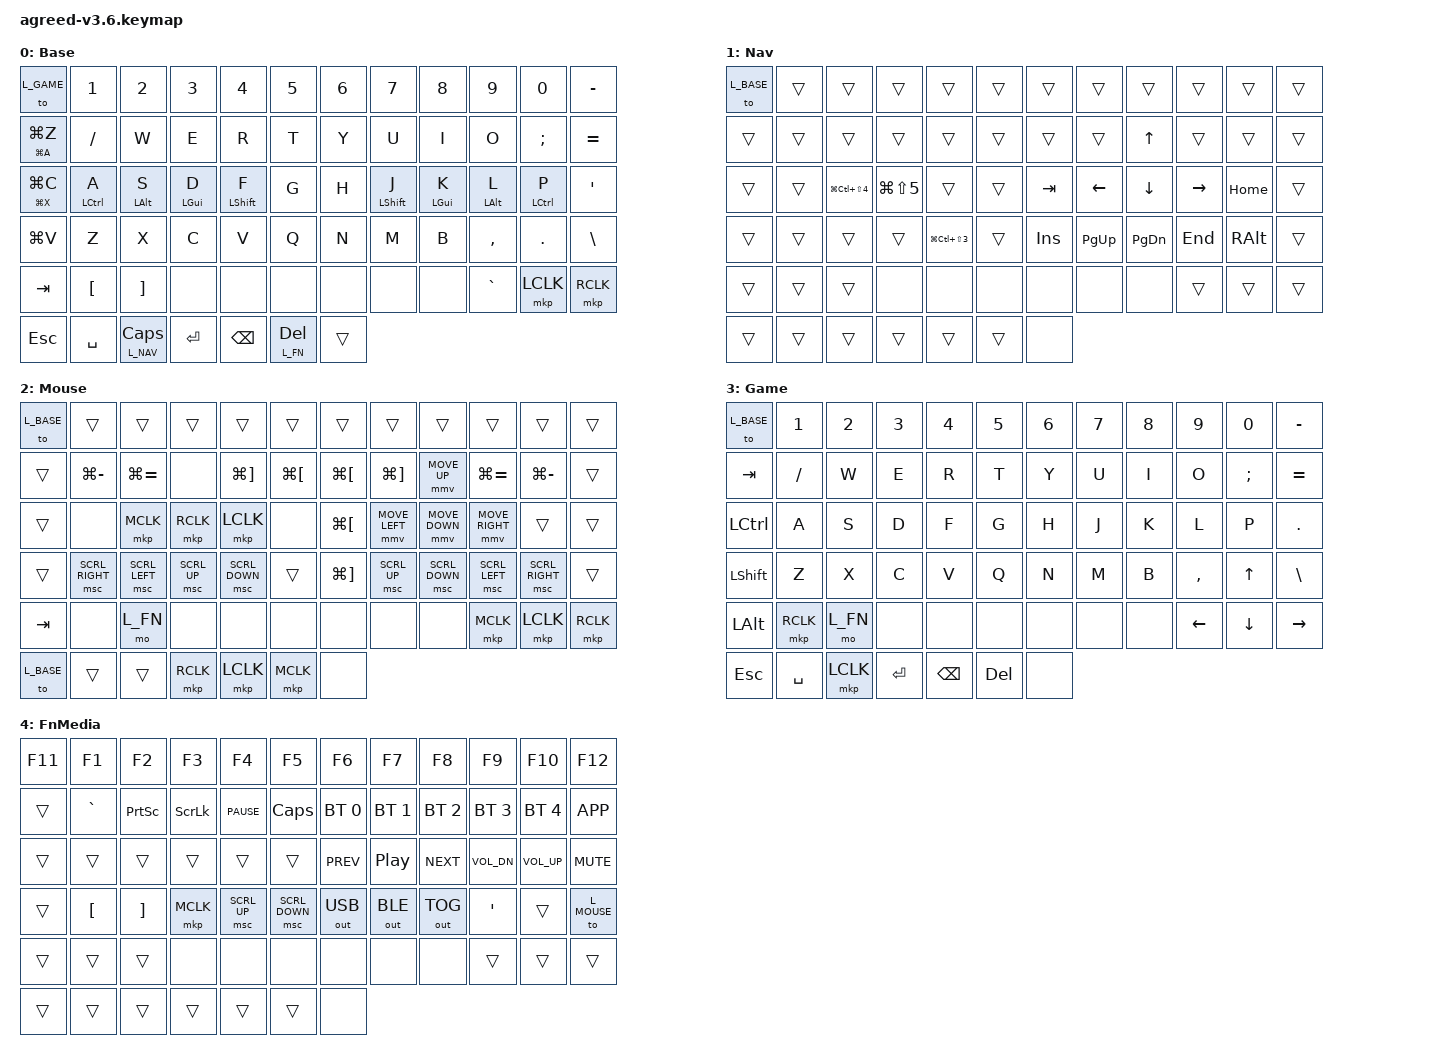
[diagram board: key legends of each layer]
/*
 * Obrey MODU-C v3.6 - DIRECT three-key bootloader combos (stock ZMK).
 * Target: Obrey/modu-c-zmk-obrey/config/modu.keymap
 * Based on the attached v3.5 keymap, NOT a live GitHub checkout.
 *
 * Base only: press 1+3+5 together OR 6+8+0 together (80 ms window).
 * No extra key, layer entry or long hold. Existing 300 ms prior-idle guard kept.
 * The Maintenance layer and its two-key entry combos have been removed.
 * All five ordinary layers and four existing unrelated combos are unchanged.
 *
 * IMPORTANT: BOTH COMBOS RESET THE CENTRAL HALF, NOT ONE HALF EACH.
 * Stock ZMK invokes source-specific reset behaviors from combos on the central.
 * The number keys' physical sides DO NOT select the bootloader target.
 * This file does NOT implement peripheral/right-half targeting.
 * Reference: https://zmk.dev/docs/keymaps/behaviors/reset#split-keyboards
 *
 * Base &none indices: 51..56 only; Base index 66 stays &trans.
 * Original left shortcut column, thumbs, brackets, backtick and Game retained.
 * No GPIO, Bluetooth-role, physical trackball or firmware-module changes.
 * Tested structurally only. Full repo validator, build and hardware untested.
 */

#define L_BASE  0
#define L_NAV   1
#define L_MOUSE 2
#define L_GAME  3
#define L_FN    4

#define ZMK_POINTING_DEFAULT_MOVE_VAL 1200
#define ZMK_POINTING_DEFAULT_SCRL_VAL 25

#include <input/processors.dtsi>
#include <zephyr/dt-bindings/input/input-event-codes.h>
#include <behaviors.dtsi>
#include <dt-bindings/zmk/bt.h>
#include <dt-bindings/zmk/keys.h>
#include <dt-bindings/zmk/outputs.h>
#include <dt-bindings/zmk/pointing.h>

/* Only keyboard-generated mouse motion/scroll. Not the physical trackball. */
&mmv_input_listener {
    input-processors = <&zip_xy_scaler 2 1>;
};
&msc_input_listener {
    input-processors = <&zip_scroll_scaler 2 1>;
};
&msc {
    acceleration-exponent = <1>;
    time-to-max-speed-ms = <100>;
    delay-ms = <0>;
};
&mmv {
    time-to-max-speed-ms = <500>;
    acceleration-exponent = <1>;
    trigger-period-ms = <16>;
};

/ {
    behaviors {
        hm200: hm200 {
            compatible = "zmk,behavior-hold-tap";
            label = "HOMEROW_MODS";
            bindings = <&kp>, <&kp>;
            #binding-cells = <2>;
            tapping-term-ms = <200>;
            quick-tap-ms = <130>;
            require-prior-idle-ms = <(-1)>;
            flavor = "tap-preferred";
        };

        hm250: hm250 {
            compatible = "zmk,behavior-hold-tap";
            label = "HM250";
            bindings = <&kp>, <&kp>;
            #binding-cells = <2>;
            tapping-term-ms = <250>;
            quick-tap-ms = <130>;
            require-prior-idle-ms = <(-1)>;
            flavor = "tap-preferred";
        };
    };

    combos {
        compatible = "zmk,combos";

        // Direct combos. Both target CENTRAL under standard ZMK reset semantics.
        combo_boot_135 {
            timeout-ms = <80>;
            require-prior-idle-ms = <300>;
            key-positions = <1 3 5>;
            bindings = <&bootloader>;
            layers = <L_BASE>;
        };
        combo_boot_680 {
            timeout-ms = <80>;
            require-prior-idle-ms = <300>;
            key-positions = <6 8 10>;
            bindings = <&bootloader>;
            layers = <L_BASE>;
        };

        /* No combo is active on Game or FnMedia. */
        mouse {
            timeout-ms = <50>;
            key-positions = <41 62>;
            bindings = <&tog L_MOUSE>;
            layers = <L_BASE L_NAV L_MOUSE>;
        };
        enter {
            timeout-ms = <50>;
            key-positions = <33 32>;
            bindings = <&kp ENTER>;
            layers = <L_BASE>;
        };
        back_space {
            timeout-ms = <50>;
            key-positions = <31 32>;
            bindings = <&kp BACKSPACE>;
            layers = <L_BASE>;
        };

        /* Intentional pairing-clear gesture: Nav held, then the 1 and 0 number keys together.
         * Not active on Game or FnMedia. Clears only the selected Bluetooth profile.
         */
        bluetooth_clear {
            timeout-ms = <50>;
            require-prior-idle-ms = <300>;
            key-positions = <1 10>;
            bindings = <&bt BT_CLR>;
            layers = <L_NAV>;
        };
    };

    keymap {
        compatible = "zmk,keymap";
        // Base letters/home-row mods kept; new keys restore missing punctuation. 0 enters Game.
        default_layer {
            display-name = "Base";
            bindings = <
                /* 00..11 */ &to L_GAME              &kp N1                  &kp N2                  &kp N3                  &kp N4                  &kp N5                  &kp N6                  &kp N7                  &kp N8                  &kp N9                  &kp N0                  &kp MINUS
                /* 12..23 */ &mt LG(A) LG(Z)         &kp SLASH               &kp W                   &kp E                   &kp R                   &kp T                   &kp Y                   &kp U                   &kp I                   &kp O                   &kp SEMICOLON           &kp EQUAL
                /* 24..35 */ &mt LG(X) LG(C)         &hm250 LCTRL A          &hm200 LALT S           &hm200 LEFT_GUI D       &hm200 LSHFT F          &kp G                   &kp H                   &hm200 LSHFT J          &hm200 LEFT_GUI K       &hm200 LALT L           &hm250 LCTRL P          &kp APOS
                /* 36..47 */ &kp LG(V)               &kp Z                   &kp X                   &kp C                   &kp V                   &kp Q                   &kp N                   &kp M                   &kp B                   &kp COMMA               &kp PERIOD              &kp BSLH
                /* 48..59 */ &kp TAB                 &kp LBKT                &kp RBKT                &none                   &none                   &none                   &none                   &none                   &none                   &kp GRAVE               &mkp LCLK               &mkp RCLK
                /* 60..66 */ &kp ESC                 &kp SPACE               &lt L_NAV CAPSLOCK      &kp ENTER               &kp BACKSPACE           &lt L_FN DEL            &trans
            >;
        };

        // Nav; node name lower_layer retained for compatibility with existing repo checks.
        lower_layer {
            display-name = "Nav";
            bindings = <
                /* 00..11 */ &to L_BASE              &trans                  &trans                  &trans                  &trans                  &trans                  &trans                  &trans                  &trans                  &trans                  &trans                  &trans
                /* 12..23 */ &trans                  &trans                  &trans                  &trans                  &trans                  &trans                  &trans                  &trans                  &kp UP                  &trans                  &trans                  &trans
                /* 24..35 */ &trans                  &trans                  &kp LG(LC(LS(N4)))      &kp LG(LS(N5))          &trans                  &trans                  &kp TAB                 &kp LEFT                &kp DOWN                &kp RIGHT               &kp HOME                &trans
                /* 36..47 */ &trans                  &trans                  &trans                  &trans                  &kp LG(LC(LS(N3)))      &trans                  &kp INS                 &kp PG_UP               &kp PG_DN               &kp END                 &kp RALT                &trans
                /* 48..59 */ &trans                  &trans                  &trans                  &none                   &none                   &none                   &none                   &none                   &none                   &trans                  &trans                  &trans
                /* 60..66 */ &trans                  &trans                  &trans                  &trans                  &trans                  &trans                  &none
            >;
        };

        // Mouse mode; 0 or left Escape returns to Base. 50 temporarily activates FnMedia.
        Mouse {
            display-name = "Mouse";
            bindings = <
                /* 00..11 */ &to L_BASE              &trans                  &trans                  &trans                  &trans                  &trans                  &trans                  &trans                  &trans                  &trans                  &trans                  &trans
                /* 12..23 */ &trans                  &kp LG(MINUS)           &kp LG(EQUAL)           &none                   &kp LG(RBKT)            &kp LG(LBKT)            &kp LG(LBKT)            &kp LG(RBKT)            &mmv MOVE_UP            &kp LG(EQUAL)           &kp LG(MINUS)           &trans
                /* 24..35 */ &trans                  &none                   &mkp MCLK               &mkp RCLK               &mkp LCLK               &none                   &kp LG(LBKT)            &mmv MOVE_LEFT          &mmv MOVE_DOWN          &mmv MOVE_RIGHT         &trans                  &trans
                /* 36..47 */ &trans                  &msc SCRL_RIGHT         &msc SCRL_LEFT          &msc SCRL_UP            &msc SCRL_DOWN          &trans                  &kp LG(RBKT)            &msc SCRL_UP            &msc SCRL_DOWN          &msc SCRL_LEFT          &msc SCRL_RIGHT         &trans
                /* 48..59 */ &kp TAB                 &none                   &mo L_FN                &none                   &none                   &none                   &none                   &none                   &none                   &mkp MCLK               &mkp LCLK               &mkp RCLK
                /* 60..66 */ &to L_BASE              &trans                  &trans                  &mkp RCLK               &mkp LCLK               &mkp MCLK               &none
            >;
        };

        // Gaming: plain key/button presses; 0 returns to Base. Dot moved from 46 to 35.
        game {
            display-name = "Game";
            bindings = <
                /* 00..11 */ &to L_BASE              &kp N1                  &kp N2                  &kp N3                  &kp N4                  &kp N5                  &kp N6                  &kp N7                  &kp N8                  &kp N9                  &kp N0                  &kp MINUS
                /* 12..23 */ &kp TAB                 &kp SLASH               &kp W                   &kp E                   &kp R                   &kp T                   &kp Y                   &kp U                   &kp I                   &kp O                   &kp SEMICOLON           &kp EQUAL
                /* 24..35 */ &kp LCTRL               &kp A                   &kp S                   &kp D                   &kp F                   &kp G                   &kp H                   &kp J                   &kp K                   &kp L                   &kp P                   &kp PERIOD
                /* 36..47 */ &kp LSHFT               &kp Z                   &kp X                   &kp C                   &kp V                   &kp Q                   &kp N                   &kp M                   &kp B                   &kp COMMA               &kp UP                  &kp BSLH
                /* 48..59 */ &kp LEFT_ALT            &mkp RCLK               &mo L_FN                &none                   &none                   &none                   &none                   &none                   &none                   &kp LEFT                &kp DOWN                &kp RIGHT
                /* 60..66 */ &kp ESC                 &kp SPACE               &mkp LCLK               &kp ENTER               &kp BACKSPACE           &kp DELETE              &none
            >;
        };

        // Fn overlay above Game.
        FnMedia {
            display-name = "FnMedia";
            bindings = <
                /* 00..11 */ &kp F11                    &kp F1                     &kp F2                     &kp F3                     &kp F4                     &kp F5                     &kp F6                     &kp F7                     &kp F8                     &kp F9                     &kp F10                    &kp F12
                /* 12..23 */ &trans                     &kp GRAVE                  &kp PSCRN                  &kp SLCK          &kp C_PAUSE      &kp CAPSLOCK               &bt BT_SEL 0               &bt BT_SEL 1               &bt BT_SEL 2               &bt BT_SEL 3               &bt BT_SEL 4               &kp K_APP
                /* 24..35 */ &trans                     &trans                     &trans                     &trans                     &trans                     &trans                     &kp C_PREV                 &kp C_PP                   &kp C_NEXT                 &kp C_VOL_DN               &kp C_VOL_UP               &kp C_MUTE
                /* 36..47 */ &trans                     &kp LBKT                   &kp RBKT                   &mkp MCLK                  &msc SCRL_UP               &msc SCRL_DOWN             &out OUT_USB               &out OUT_BLE               &out OUT_TOG               &kp APOS                   &trans                     &to L_MOUSE
                /* 48..59 */ &trans                     &trans                     &trans                     &none                      &none                      &none                      &none                      &none                      &none                      &trans                     &trans                     &trans
                /* 60..66 */ &trans                     &trans                     &trans                     &trans                     &trans                     &trans                     &none
            >;
        };

    };
};
